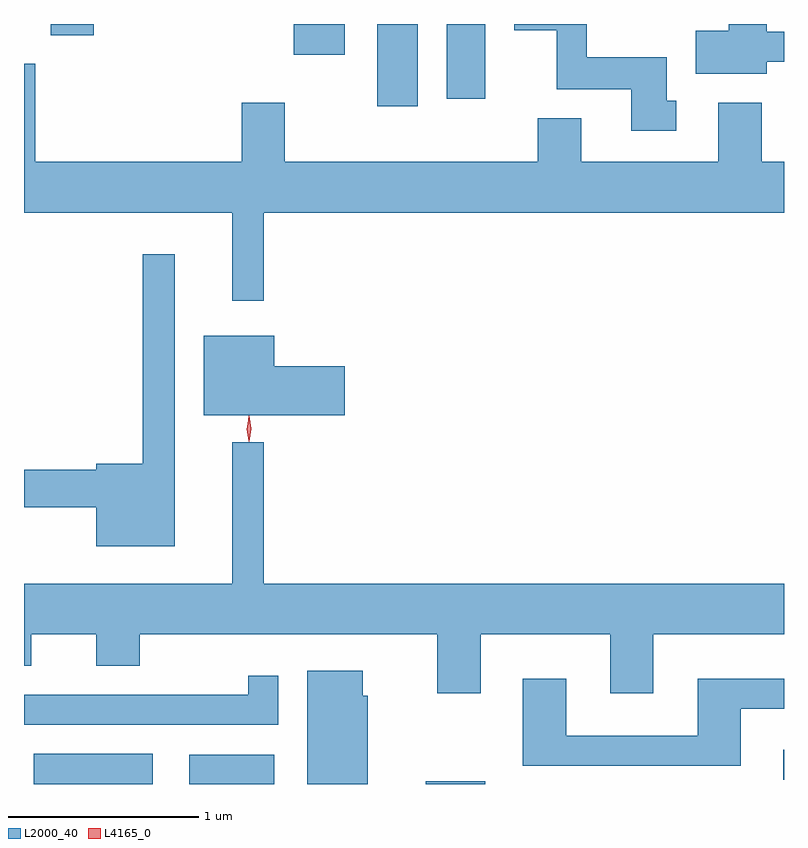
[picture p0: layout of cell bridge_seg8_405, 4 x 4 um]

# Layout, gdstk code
import gdstk
lib = gdstk.Library(unit=1e-6, precision=1e-09)
def R(c, l, rs):  # rectangles x0, y0, x1, y1
    for r in rs: c.add(gdstk.rectangle(r[:2], r[2:], *l))
def P(c, l, *ps):  # polygons
    for p in ps: c.add(gdstk.Polygon(p, *l))
L2000_40 = (2000, 40)
L4165_0 = (4165, 0)

bridge_seg8_405 = lib.new_cell('bridge_seg8_405')
R(bridge_seg8_405, L2000_40, [(696.336,1828.969,696.964,1829.129), (697.156,1828.969,697.604,1829.124), (698.401,1828.969,698.714,1828.984), (700.283,1828.991,700.286,1829.149), (698.146,1832.536,698.359,1832.969), (698.511,1832.576,698.714,1832.969), (697.706,1832.806,697.974,1832.969), (696.426,1832.911,696.654,1832.969)])
P(bridge_seg8_405, L2000_40, [(700.194,1832.771),(700.286,1832.771),(700.286,1832.929),(700.194,1832.929),(700.194,1832.969),(699.996,1832.969),(699.996,1832.934),(699.821,1832.934),(699.821,1832.706),(700.194,1832.706)],
  [(699.718,1832.564),(699.669,1832.564),(699.669,1832.794),(699.249,1832.794),(699.249,1832.969),(698.866,1832.969),(698.866,1832.936),(699.091,1832.936),(699.091,1832.626),(699.481,1832.626),(699.481,1832.406),(699.718,1832.406)],
  [(697.549,1831.976),(700.286,1831.976),(700.286,1832.244),(700.169,1832.244),(700.169,1832.554),(699.941,1832.554),(699.941,1832.244),(699.219,1832.244),(699.219,1832.474),(698.991,1832.474),(698.991,1832.244),(697.659,1832.244),(697.659,1832.554),(697.431,1832.554),(697.431,1832.244),(696.344,1832.244),(696.344,1832.759),(696.286,1832.759),(696.286,1831.976),(697.381,1831.976),(697.381,1831.513),(697.549,1831.513)],
  [(697.079,1831.758),(696.911,1831.758),(696.911,1830.654),(696.666,1830.654),(696.666,1830.624),(696.286,1830.624),(696.286,1830.426),(696.666,1830.426),(696.666,1830.221),(697.079,1830.221)],
  [(697.974,1831.169),(697.604,1831.169),(697.604,1831.329),(697.231,1831.329),(697.231,1830.911),(697.974,1830.911)],
  [(696.286,1829.591),(696.324,1829.591),(696.324,1829.756),(696.666,1829.756),(696.666,1829.591),(696.894,1829.591),(696.894,1829.756),(698.461,1829.756),(698.461,1829.446),(698.689,1829.446),(698.689,1829.756),(699.371,1829.756),(699.371,1829.446),(699.599,1829.446),(699.599,1829.756),(700.286,1829.756),(700.286,1830.024),(697.549,1830.024),(697.549,1830.768),(697.381,1830.768),(697.381,1830.024),(696.286,1830.024)],
  [(698.094,1829.434),(698.069,1829.434),(698.069,1829.564),(697.776,1829.564),(697.776,1828.969),(698.094,1828.969)],
  [(697.624,1829.538),(697.466,1829.538),(697.466,1829.439),(696.286,1829.439),(696.286,1829.281),(697.624,1829.281)],
  [(700.059,1829.366),(700.286,1829.366),(700.286,1829.524),(699.831,1829.524),(699.831,1829.224),(699.139,1829.224),(699.139,1829.524),(698.911,1829.524),(698.911,1829.066),(700.059,1829.066)])
P(bridge_seg8_405, L4165_0, [(697.471,1830.77),(697.471,1830.77),(697.461,1830.838),(697.47,1830.906),(697.47,1830.906),(697.471,1830.906),(697.481,1830.838),(697.472,1830.77)],
  [(697.468,1830.773),(697.468,1830.773),(697.458,1830.836),(697.468,1830.899),(697.468,1830.9),(697.469,1830.899),(697.478,1830.836),(697.469,1830.773)])

lib.write_gds('bridge_seg8_405.gds')
